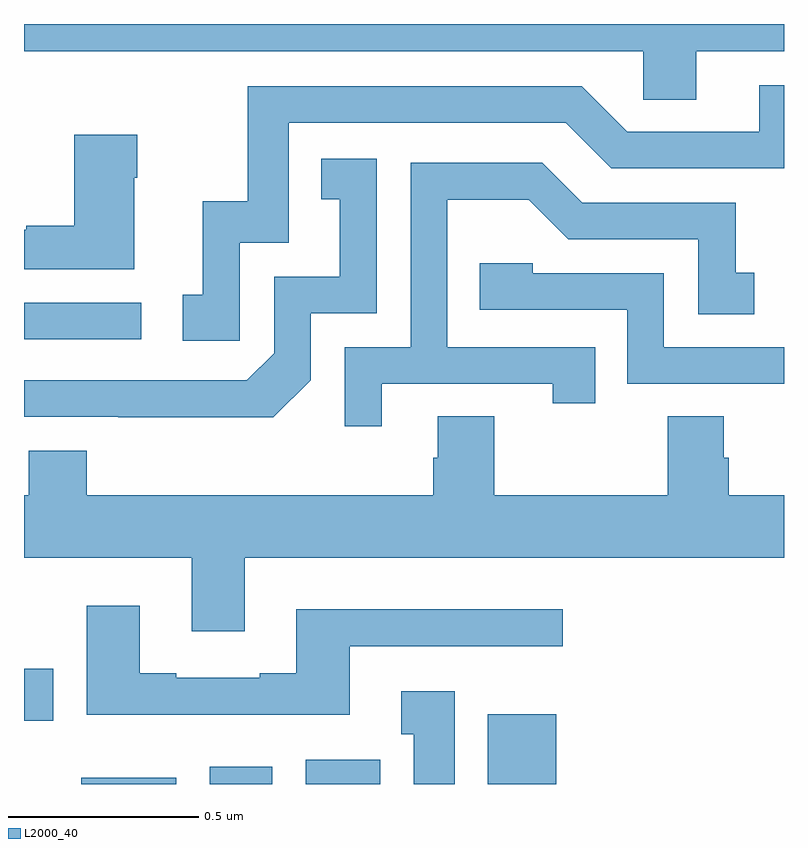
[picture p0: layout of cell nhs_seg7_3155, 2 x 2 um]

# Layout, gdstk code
import gdstk
lib = gdstk.Library(unit=1e-6, precision=1e-09)
def R(c, l, rs):  # rectangles x0, y0, x1, y1
    for r in rs: c.add(gdstk.rectangle(r[:2], r[2:], *l))
def P(c, l, *ps):  # polygons
    for p in ps: c.add(gdstk.Polygon(p, *l))
L2000_40 = (2000, 40)

nhs_seg7_3155 = lib.new_cell('nhs_seg7_3155')
R(nhs_seg7_3155, L2000_40, [(155.15,1020,155.401,1020.016), (155.489,1020,155.653,1020.046), (155.741,1020,155.938,1020.064), (156.221,1020,156.4,1020.184), (155,1020.166,155.077,1020.303), (155,1021.17,155.308,1021.266)])
P(nhs_seg7_3155, L2000_40, [(156.769,1021.928),(157,1021.928),(157,1022),(155,1022),(155,1021.928),(156.63,1021.928),(156.63,1021.801),(156.769,1021.801)],
  [(155.568,1021.425),(155.697,1021.425),(155.697,1021.74),(156.426,1021.74),(156.546,1021.62),(157,1021.62),(157,1021.839),(156.935,1021.839),(156.935,1021.716),(156.588,1021.716),(156.468,1021.836),(155.589,1021.836),(155.589,1021.534),(155.471,1021.534),(155.471,1021.287),(155.418,1021.287),(155.418,1021.167),(155.568,1021.167)],
  [(155.29,1021.595),(155.298,1021.595),(155.298,1021.708),(155.132,1021.708),(155.132,1021.469),(155.006,1021.469),(155.006,1021.459),(155,1021.459),(155,1021.355),(155.29,1021.355)],
  [(155.754,1021.062),(155.754,1021.239),(155.928,1021.239),(155.928,1021.645),(155.782,1021.645),(155.782,1021.539),(155.831,1021.539),(155.831,1021.335),(155.658,1021.335),(155.658,1021.134),(155.586,1021.062),(155,1021.062),(155,1020.966),(155.248,1020.966),(155.248,1020.965),(155.656,1020.965)],
  [(155.941,1021.053),(156.392,1021.053),(156.392,1021.002),(156.503,1021.002),(156.503,1021.149),(156.114,1021.149),(156.114,1021.538),(156.328,1021.538),(156.432,1021.434),(156.774,1021.434),(156.774,1021.236),(156.922,1021.236),(156.922,1021.345),(156.873,1021.345),(156.873,1021.53),(156.469,1021.53),(156.364,1021.635),(156.018,1021.635),(156.018,1021.149),(155.844,1021.149),(155.844,1020.942),(155.941,1020.942)],
  [(157,1021.149),(156.684,1021.149),(156.684,1021.344),(156.339,1021.344),(156.339,1021.371),(156.199,1021.371),(156.199,1021.248),(156.588,1021.248),(156.588,1021.053),(157,1021.053)],
  [(155.581,1020.596),(157,1020.596),(157,1020.76),(156.854,1020.76),(156.854,1020.858),(156.841,1020.858),(156.841,1020.968),(156.694,1020.968),(156.694,1020.76),(156.237,1020.76),(156.237,1020.968),(156.089,1020.968),(156.089,1020.858),(156.077,1020.858),(156.077,1020.76),(155.165,1020.76),(155.165,1020.877),(155.012,1020.877),(155.012,1020.76),(155,1020.76),(155,1020.596),(155.441,1020.596),(155.441,1020.402),(155.581,1020.402)],
  [(155.857,1020.363),(156.418,1020.363),(156.418,1020.46),(155.717,1020.46),(155.717,1020.292),(155.621,1020.292),(155.621,1020.279),(155.401,1020.279),(155.401,1020.292),(155.305,1020.292),(155.305,1020.469),(155.165,1020.469),(155.165,1020.182),(155.857,1020.182)],
  [(156.133,1020.244),(155.993,1020.244),(155.993,1020.131),(156.026,1020.131),(156.026,1020),(156.133,1020)])

lib.write_gds('nhs_seg7_3155.gds')
